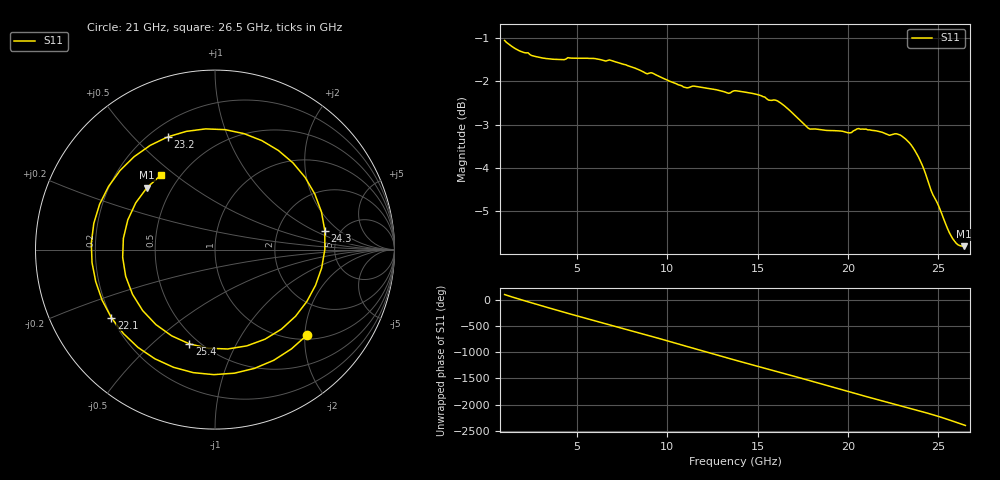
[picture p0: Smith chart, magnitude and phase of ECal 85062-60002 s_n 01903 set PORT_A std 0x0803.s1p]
!Created with skrf (http://scikit-rf.org).
# Hz S RI R 50.0
!freq ReS11 ImS11
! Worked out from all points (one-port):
!   256 points, 1 GHz to 26.5 GHz, reference 50 ohm
!   lowest |S11| = -5.8 dB at 26.4 GHz (marker M1), VSWR 3.10, Z = 18.2 + j17.1 ohm
!   |S11| at or under -10 dB: nowhere
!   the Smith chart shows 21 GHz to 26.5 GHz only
!   S11 on the Smith chart (normalised r, x): 21 GHz: 1.10, -2.05; 22.1 GHz: 0.20, -0.29; 23.2 GHz: 0.27, +0.63; 24.3 GHz: 3.79, +1.31; 25.4 GHz: 0.44, -0.66; 26.5 GHz: 0.39, +0.44
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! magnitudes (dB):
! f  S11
! 1 GHz  -1.1
! 1.6 GHz  -1.2
! 2.5 GHz  -1.4
! 4.2 GHz  -1.5
! 5.9 GHz  -1.5
! 7.4 GHz  -1.6
! 8.9 GHz  -1.8
! 9.2 GHz  -1.8
! 10.6 GHz  -2.1
! 13.4 GHz  -2.3
! 13.8 GHz  -2.2
! 16.1 GHz  -2.5
! 17 GHz  -2.8
! 17.9 GHz  -3.1
! 20.2 GHz  -3.2
! 20.5 GHz  -3.1
! 21 GHz  -3.1
! 22.1 GHz  -3.2
! 22.7 GHz  -3.2
! 23.2 GHz  -3.3
! 23.4 GHz  -3.4
! 23.9 GHz  -3.7
! 24.3 GHz  -4.1
! 24.6 GHz  -4.5
! 25.4 GHz  -5.3
! 26 GHz  -5.7
! 26.4 GHz  -5.8
! 26.5 GHz  -5.8
